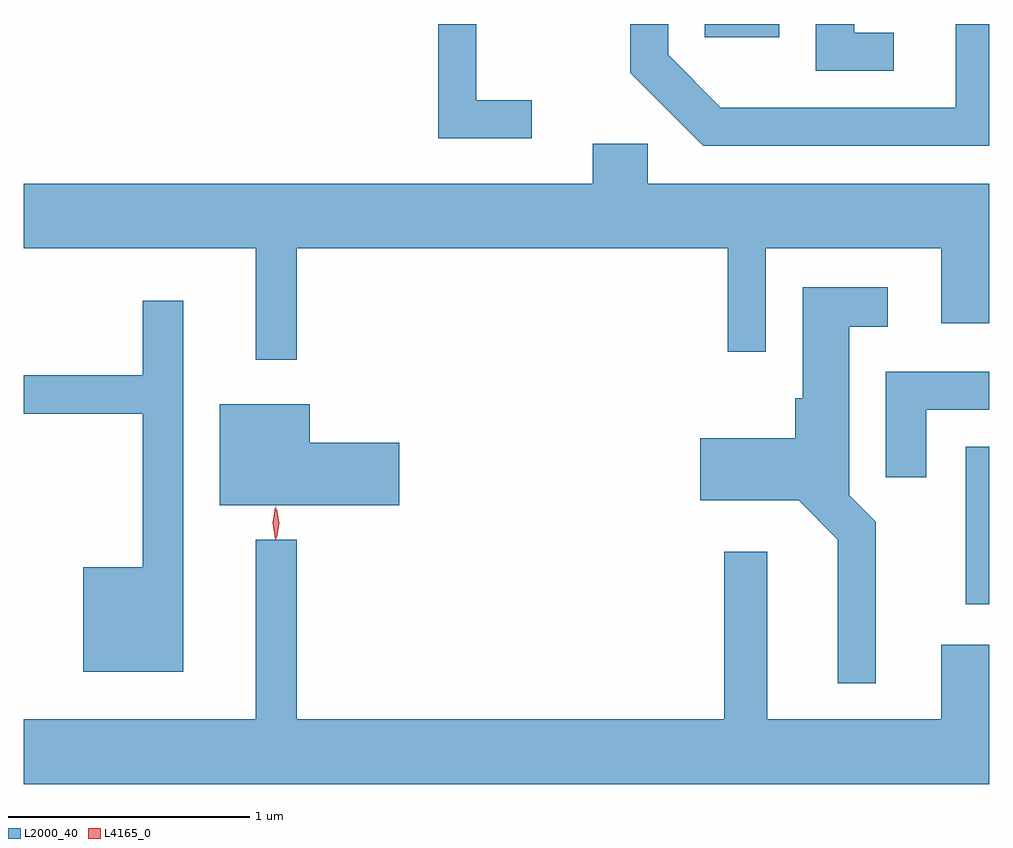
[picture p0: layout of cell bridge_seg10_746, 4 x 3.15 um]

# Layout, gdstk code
import gdstk
lib = gdstk.Library(unit=1e-6, precision=1e-09)
def R(c, l, rs):  # rectangles x0, y0, x1, y1
    for r in rs: c.add(gdstk.rectangle(r[:2], r[2:], *l))
def P(c, l, *ps):  # polygons
    for p in ps: c.add(gdstk.Polygon(p, *l))
L2000_40 = (2000, 40)
L4165_0 = (4165, 0)

bridge_seg10_746 = lib.new_cell('bridge_seg10_746')
R(bridge_seg10_746, L2000_40, [(539.001,2127.981,539.099,2128.634), (537.921,2130.331,538.229,2130.385)])
P(bridge_seg10_746, L2000_40, [(537.203,2130.069),(536.974,2130.069),(536.974,2130.385),(536.816,2130.385),(536.816,2129.911),(537.203,2129.911)],
  [(539.099,2130.385),(538.961,2130.385),(538.961,2130.039),(537.987,2130.039),(537.769,2130.257),(537.769,2130.385),(537.611,2130.385),(537.611,2130.184),(537.914,2129.881),(539.099,2129.881)],
  [(538.703,2130.349),(538.539,2130.349),(538.539,2130.385),(538.381,2130.385),(538.381,2130.191),(538.703,2130.191)],
  [(535.099,2129.456),(536.061,2129.456),(536.061,2128.993),(536.229,2128.993),(536.229,2129.456),(538.016,2129.456),(538.016,2129.028),(538.174,2129.028),(538.174,2129.456),(538.901,2129.456),(538.901,2129.146),(539.099,2129.146),(539.099,2129.724),(537.684,2129.724),(537.684,2129.889),(537.456,2129.889),(537.456,2129.724),(535.099,2129.724)],
  [(538.629,2128.322),(538.519,2128.432),(538.519,2129.131),(538.678,2129.131),(538.678,2129.294),(538.326,2129.294),(538.326,2128.834),(538.296,2128.834),(538.296,2128.669),(537.901,2128.669),(537.901,2128.411),(538.309,2128.411),(538.471,2128.249),(538.471,2127.653),(538.629,2127.653)],
  [(535.759,2129.238),(535.591,2129.238),(535.591,2128.929),(535.099,2128.929),(535.099,2128.771),(535.591,2128.771),(535.591,2128.134),(535.346,2128.134),(535.346,2127.701),(535.759,2127.701)],
  [(538.839,2128.786),(539.099,2128.786),(539.099,2128.944),(538.671,2128.944),(538.671,2128.508),(538.839,2128.508)],
  [(536.654,2128.649),(536.284,2128.649),(536.284,2128.809),(535.911,2128.809),(535.911,2128.391),(536.654,2128.391)],
  [(539.099,2127.814),(538.901,2127.814),(538.901,2127.504),(538.179,2127.504),(538.179,2128.199),(538.001,2128.199),(538.001,2127.504),(536.229,2127.504),(536.229,2128.248),(536.061,2128.248),(536.061,2127.504),(535.099,2127.504),(535.099,2127.236),(539.099,2127.236)])
P(bridge_seg10_746, L4165_0, [(536.141,2128.25),(536.131,2128.318),(536.14,2128.385),(536.14,2128.386),(536.141,2128.385),(536.151,2128.318),(536.142,2128.25),(536.142,2128.25)],
  [(536.147,2128.253),(536.147,2128.254),(536.137,2128.316),(536.147,2128.379),(536.147,2128.38),(536.148,2128.379),(536.157,2128.316),(536.148,2128.254)])

lib.write_gds('bridge_seg10_746.gds')
